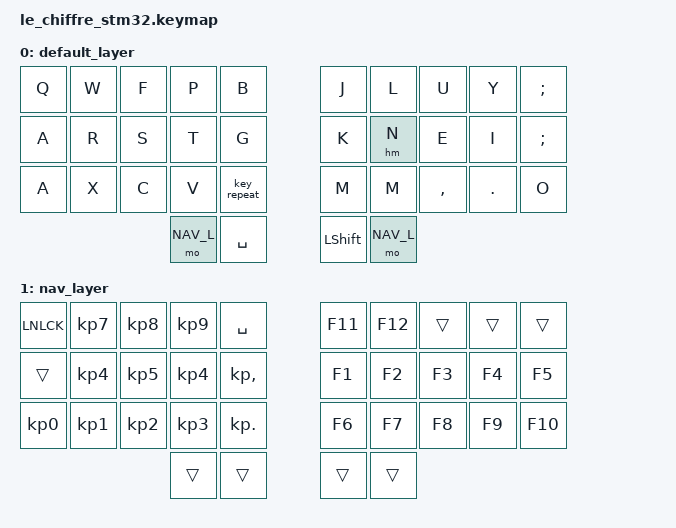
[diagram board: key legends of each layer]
/*
 * Copyright (c) 2020 The ZMK Contributors
 *
 * SPDX-License-Identifier: MIT
 */

#include <behaviors.dtsi>
#include <dt-bindings/zmk/keys.h>
#include <dt-bindings/zmk/bt.h>

#define NAV_L 1

// Using layer taps on thumbs, having quick tap as well helps w/ repeating space/backspace
&lt { quick_tap_ms = <200>; };

/ {
    combos {
        compatible = "zmk,combos";

			combo_esc1 {
			    timeout-ms = <50>;
		            key-positions = <11 12 20>;
		            bindings = <&kp ESCAPE>;
			};
			combo_esc2 {
			    timeout-ms = <50>;
		            key-positions = <17 18 29>;
		            bindings = <&kp ESCAPE>;
			};

			combo_lsft {
			    timeout-ms = <50>;
		            key-positions = <10 11>;
		            bindings = <&skq LSHFT>;
			};

			combo_rsft {
			    timeout-ms = <50>;
		            key-positions = <16 17>;
		            bindings = <&skq RSHFT>;
			};
    };
    keymap {
        compatible = "zmk,keymap";

        default_layer {
            bindings = <
                &kp Q &kp W  &kp F &kp P     &kp B         &kp J      &kp L     &kp U      &kp Y   &kp SEMI
                &kp A &kp R  &kp S &kp T     &kp G         &kp K      &hm N     &kp E      &kp I   &kp SEMI
                &kp A &kp X  &kp C &kp V     &key_repeat   &kp M      &kp M     &kp COMMA  &kp DOT &kp O
                                   &mo NAV_L &kp SPACE     &kp LSHFT  &mo NAV_L
            >;
        };

        nav_layer {
            bindings = <
                &kp LNLCK  &kp KP_N7 &kp KP_N8 &kp KP_N9  &kp SPC         &kp F11 &kp F12  &trans  &trans &trans
                &trans     &kp KP_N4 &kp KP_N5 &kp KP_N4  &kp KP_COMMA     &kp F1  &kp F2  &kp F3  &kp F4 &kp F5
                &kp KP_N0  &kp KP_N1 &kp KP_N2 &kp KP_N3  &kp KP_DOT       &kp F6  &kp F7  &kp F8  &kp F9 &kp F10
                                               &trans     &trans          &trans        &trans
            >;
        };
    };
};
